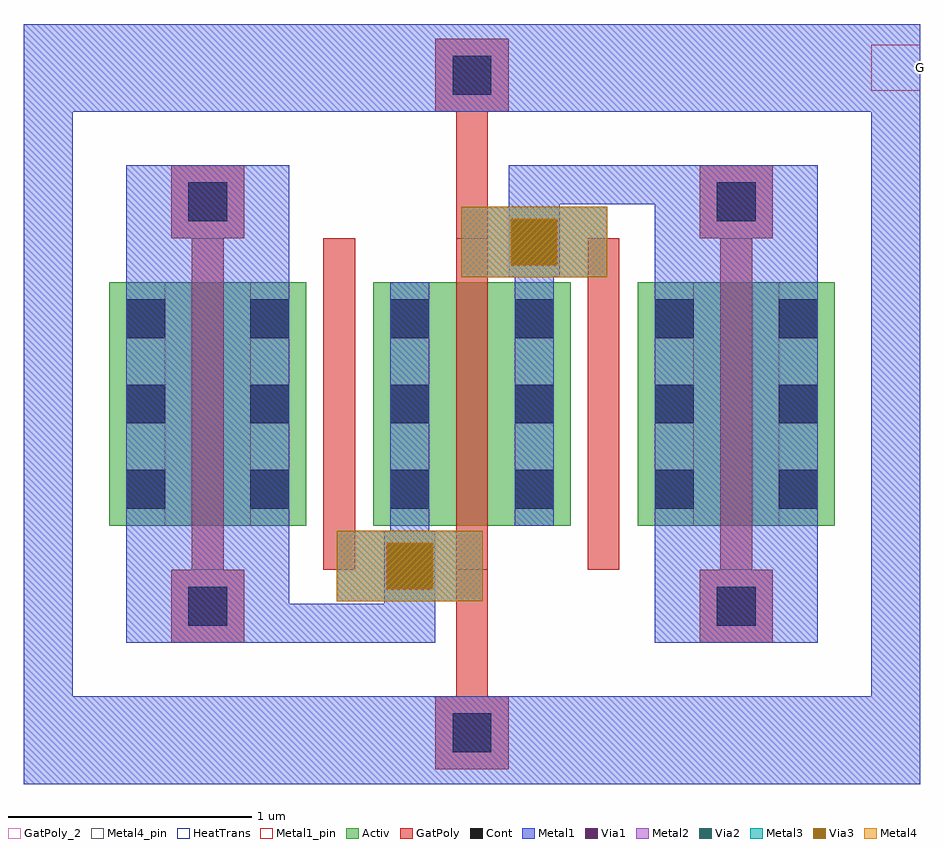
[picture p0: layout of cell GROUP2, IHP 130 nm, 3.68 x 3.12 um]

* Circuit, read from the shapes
.subckt GROUP2 G
XM1 nmos_priv2_1/D nmos_priv2_1/D nmos_priv2_1/D VSUBS sg13_lv_nmos w=1u l=0.13u
XM2 nmos_priv2_1/S G nmos_priv2_1/D VSUBS sg13_lv_nmos w=1u l=0.13u
XM3 nmos_priv2_1/S nmos_priv2_1/S nmos_priv2_1/S VSUBS sg13_lv_nmos w=1u l=0.13u
.ends

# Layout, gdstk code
import gdstk
lib = gdstk.Library(unit=1e-6, precision=1e-09)
def R(c, l, rs):  # rectangles x0, y0, x1, y1
    for r in rs: c.add(gdstk.rectangle(r[:2], r[2:], *l))
def A(c, l, x, y, w, h, nx, ny, dx, dy):  # array of equal rectangles
    R(c, l, [(x+i*dx, y+j*dy, x+i*dx+w, y+j*dy+h) for i in range(nx) for j in range(ny)])
Activ = (1, 0)
GatPoly = (5, 0)
GatPoly_2 = (5, 2)
Cont = (6, 0)
Metal1 = (8, 0)
Metal1_pin = (8, 2)
Metal2 = (10, 0)
Via1 = (19, 0)
Via2 = (29, 0)
Metal3 = (30, 0)
Via3 = (49, 0)
Metal4 = (50, 0)
Metal4_pin = (50, 2)
HeatTrans = (51, 0)

nmos_priv3 = lib.new_cell('nmos_priv3')
R(nmos_priv3, Activ, [(0,0,0.3,0.3), (0,0,0.81,1), (0.51,0,0.81,0.3)])
R(nmos_priv3, GatPoly, [(0.255,-0.48,0.555,-0.18), (0.34,-0.18,0.47,1.18), (0.255,1.18,0.555,1.48)])
R(nmos_priv3, GatPoly_2, [(0.34,-0.18,0.47,1.18)])
A(nmos_priv3, Cont, 0.07, 0.07, 0.16, 0.16, 1, 3, 0, 0.35)
A(nmos_priv3, Cont, 0.58, 0.07, 0.16, 0.16, 1, 3, 0, 0.35)
R(nmos_priv3, Cont, [(0.325,-0.41,0.485,-0.25), (0.325,1.25,0.485,1.41)])
R(nmos_priv3, Metal1, [(0.07,-0.48,0.74,1.48), (0.07,0,0.23,1), (0.58,0,0.74,1)])
R(nmos_priv3, Metal1_pin, [(0.07,0,0.23,1), (0.58,0,0.74,1)])
R(nmos_priv3, HeatTrans, [(0.34,-0.18,0.47,1.18)])
nmos_priv3.add(gdstk.Label('nmos', (0.405,0.5), layer=63, texttype=0))
nmos_priv3.add(gdstk.Label('nmos', (0.405,0.5), layer=51, texttype=0))

nmos_priv2 = lib.new_cell('nmos_priv2')
R(nmos_priv2, Activ, [(0,0,0.3,0.3), (0,0,0.81,1), (0.51,0,0.81,0.3)])
R(nmos_priv2, GatPoly, [(0.255,-1,0.555,-0.7), (0.34,-0.7,0.47,-0.18), (0.34,-0.18,0.47,1.18), (0.34,1.18,0.47,1.7), (0.255,1.7,0.555,2)])
R(nmos_priv2, GatPoly_2, [(0.34,-0.18,0.47,1.18)])
A(nmos_priv2, Cont, 0.07, 0.07, 0.16, 0.16, 1, 3, 0, 0.35)
A(nmos_priv2, Cont, 0.58, 0.07, 0.16, 0.16, 1, 3, 0, 0.35)
R(nmos_priv2, Cont, [(0.325,-0.93,0.485,-0.77), (0.325,1.77,0.485,1.93)])
R(nmos_priv2, Metal1, [(0.27,-1.06,0.54,-0.7), (0.045,-0.31,0.255,-0.02), (0.07,-0.035,0.23,0.015), (0.07,0,0.23,1), (0.58,0,0.74,1), (0.58,0.985,0.74,1.035), (0.555,1.02,0.765,1.31), (0.27,1.7,0.54,2.06)])
R(nmos_priv2, Metal1_pin, [(0.07,0,0.23,1), (0.58,0,0.74,1)])
R(nmos_priv2, Metal2, [(-0.15,-0.31,0.45,-0.02), (0.05,-0.31,0.25,-0.02), (0.36,1.02,0.96,1.31), (0.56,1.02,0.76,1.31)])
R(nmos_priv2, Via1, [(0.055,-0.26,0.245,-0.07), (0.565,1.07,0.755,1.26)])
R(nmos_priv2, Via2, [(0.055,-0.26,0.245,-0.07), (0.565,1.07,0.755,1.26)])
R(nmos_priv2, Metal3, [(-0.15,-0.31,0.45,-0.02), (0.05,-0.31,0.25,-0.02), (0.36,1.02,0.96,1.31), (0.56,1.02,0.76,1.31)])
R(nmos_priv2, Via3, [(0.055,-0.26,0.245,-0.07), (0.565,1.07,0.755,1.26)])
R(nmos_priv2, Metal4, [(-0.15,-0.31,0.45,-0.02), (0.05,-0.31,0.25,-0.02), (0.36,1.02,0.96,1.31), (0.56,1.02,0.76,1.31)])
R(nmos_priv2, Metal4_pin, [(0.055,-0.26,0.245,-0.07), (0.565,1.07,0.755,1.26)])
R(nmos_priv2, HeatTrans, [(0.34,-0.18,0.47,1.18)])
nmos_priv2.add(gdstk.Label('nmos', (0.405,0.5), layer=63, texttype=0))
nmos_priv2.add(gdstk.Label('nmos', (0.405,0.5), layer=51, texttype=0))
nmos_priv2.add(gdstk.Label('S', (0.66,1.165), layer=50, texttype=0))
nmos_priv2.add(gdstk.Label('D', (0.15,-0.165), layer=50, texttype=0))

nmos_priv1 = lib.new_cell('nmos_priv1')
R(nmos_priv1, Activ, [(0,0,0.3,0.3), (0,0,0.81,1), (0.51,0,0.81,0.3)])
R(nmos_priv1, GatPoly, [(0.255,-0.48,0.555,-0.18), (0.34,-0.18,0.47,1.18), (0.255,1.18,0.555,1.48)])
R(nmos_priv1, GatPoly_2, [(0.34,-0.18,0.47,1.18)])
A(nmos_priv1, Cont, 0.07, 0.07, 0.16, 0.16, 1, 3, 0, 0.35)
A(nmos_priv1, Cont, 0.58, 0.07, 0.16, 0.16, 1, 3, 0, 0.35)
R(nmos_priv1, Cont, [(0.325,-0.41,0.485,-0.25), (0.325,1.25,0.485,1.41)])
R(nmos_priv1, Metal1, [(0.07,-0.48,0.74,1.48), (0.07,0,0.23,1), (0.58,0,0.74,1)])
R(nmos_priv1, Metal1_pin, [(0.07,0,0.23,1), (0.58,0,0.74,1)])
R(nmos_priv1, HeatTrans, [(0.34,-0.18,0.47,1.18)])
nmos_priv1.add(gdstk.Label('nmos', (0.405,0.5), layer=63, texttype=0))
nmos_priv1.add(gdstk.Label('nmos', (0.405,0.5), layer=51, texttype=0))

group2 = lib.new_cell('GROUP2')
R(group2, GatPoly, [(125.275,-89.19,125.405,-87.83), (126.36,-89.19,126.49,-87.83)])
R(group2, Metal1, [(124.045,-90.07,127.725,-89.71), (124.045,-90.07,124.245,-86.95), (127.525,-90.07,127.725,-86.95), (125.135,-89.49,125.735,-89.33), (125.525,-89.33,125.735,-89.03), (126.035,-87.99,126.245,-87.69), (126.035,-87.69,126.635,-87.53), (124.045,-87.31,127.725,-86.95)])
R(group2, Metal1_pin, [(127.525,-87.225,127.725,-87.035)])
group2.add(gdstk.Reference(nmos_priv3, (126.565,-89.01)))
group2.add(gdstk.Reference(nmos_priv2, (125.48,-89.01)))
group2.add(gdstk.Reference(nmos_priv1, (124.395,-89.01)))
group2.add(gdstk.Label('G', (127.725,-87.13), layer=8, texttype=0))
group2.add(gdstk.Label('XM10', (125.285,-86.65), layer=1000, texttype=0))
group2.add(gdstk.Label('XM17', (125.885,-86.65), layer=1000, texttype=0))
group2.add(gdstk.Label('XM16', (126.485,-86.65), layer=1000, texttype=0))

lib.write_gds('GROUP2.gds')
